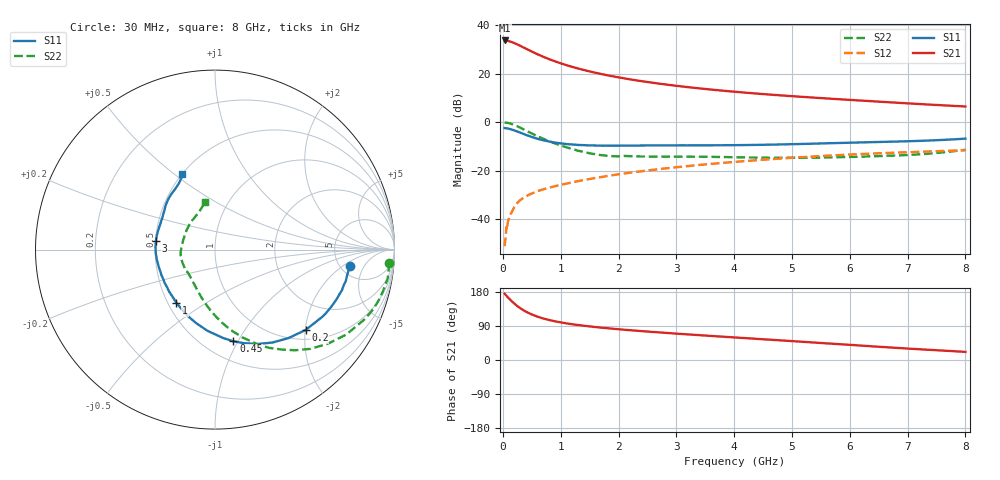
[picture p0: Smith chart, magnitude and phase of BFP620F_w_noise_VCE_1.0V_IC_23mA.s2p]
! Infineon Technologies  Discrete & RF Semiconductors
! BFP620F
! VCE =  1.0 V,  IC =  23 mA
! Common Emitter S-Parameters:  Dec 2014
# GHz  S  MA  R  50
!  f  S11  S21  S12  S22
! GHz  MAG  ANG  MAG  ANG  MAG  ANG  MAG  ANG
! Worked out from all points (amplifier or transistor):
!   95 points, 30 MHz to 8 GHz, reference 50 ohm
!   highest |S21| = 33.6 dB at 40 MHz (marker M1)
!   |S21| within 3 dB of that: start of sweep to 366.8 MHz
!   unconditionally stable (mu >= 1): 2.806 GHz to end of sweep
!   at 300 MHz: K = 0.31, MSG = 31.8 dB, |S12| = -32.1 dB
!   at 3.3 GHz: K = 1.01, MAG = 15.3 dB, |S12| = -17.8 dB
!   at 8 GHz: K = 1.06, MAG = 7.5 dB, |S12| = -11.6 dB
!   lowest NFmin = 0.94 dB at 450 MHz
!   S11 on the Smith chart (normalised r, x): 30 MHz: 6.10, -2.54; 200 MHz: 1.22, -2.01; 450 MHz: 0.68, -0.96; 1 GHz: 0.55, -0.38; 3 GHz: 0.50, +0.06; 8 GHz: 0.50, +0.53
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0.03  0.7556 -6.8  47.98 174.9  0.0028 89.7  0.9735 -4.4
0.04  0.7529 -9.0  48 173.1  0.0036 92.7  0.9741 -6.3
0.08  0.7428 -17.6  47.33 166.5  0.0078 86.4  0.9658 -13.4
0.12  0.7217 -26.2  45.78 159.9  0.0115 81.2  0.9425 -20.4
0.15  0.7048 -32.2  44.65 155.6  0.0138 75.1  0.918 -25.2
0.2  0.6749 -41.6  42.22 148.7  0.0181 73.0  0.8712 -32.9
0.25  0.6407 -50.3  39.78 142.3  0.0217 69.3  0.8197 -39.7
0.3  0.6087 -58.3  37.28 136.8  0.0248 66.9  0.7683 -46.0
0.35  0.5767 -65.8  34.74 131.9  0.0273 64.7  0.7167 -51.5
0.45  0.521 -78.7  30.34 123.7  0.0321 61.7  0.6256 -61.1
0.6  0.4543 -95.3  24.93 114.3  0.0381 59.1  0.5122 -72.7
0.7  0.4231 -104.3  22.12 109.5  0.0414 58.6  0.4541 -79.2
0.8  0.3996 -112.3  19.79 105.6  0.0448 57.9  0.4054 -85.0
1  0.3664 -125.9  16.25 99.3  0.0514 57.8  0.3318 -95.4
1.4  0.3363 -146.5  11.85 90.4  0.0644 57.9  0.2426 -114.8
2  0.3276 -167.3  8.353 81.2  0.0844 57.4  0.1972 -140.8
2.7  0.3319 176.9  6.21 72.9  0.1077 55.0  0.1951 -158.9
3  0.3328 171.3  5.601 69.6  0.118 53.6  0.1954 -164.4
4.1  0.3368 154.7  4.134 58.6  0.155 47.7  0.1884 179.2
5.4  0.3617 140.6  3.184 45.9  0.1972 39.1  0.1865 155.5
6.7  0.3955 127.1  2.556 33.1  0.2331 29.4  0.2041 130.2
8  0.4574 113.4  2.1 21.4  0.2635 19.9  0.2698 101.7
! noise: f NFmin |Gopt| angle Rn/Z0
0.45  0.94  0.04  2  0.2
0.9  0.98  0.02  6  0.17
1.5  1  0.01  -9  0.15
1.8  1.02  0.01  -17  0.16
1.9  1.02  0  51  0.16
2.4  1.05  0.03  -153  0.15
3.5  1.13  0.06  -161  0.15
5.5  1.28  0.17  234  0.11
6  1.32  0.16  256  0.14
